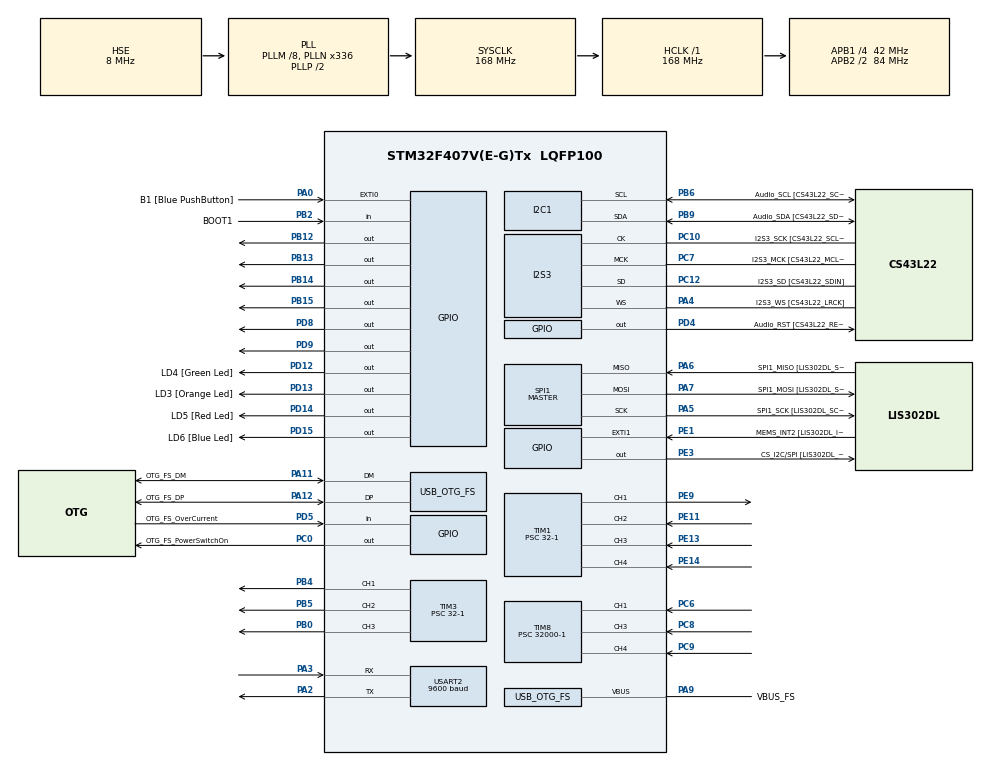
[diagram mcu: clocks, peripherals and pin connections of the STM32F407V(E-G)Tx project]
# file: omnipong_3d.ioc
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I2S3.AudioFreq-Half_Duplex_Master=I2S_AUDIOFREQ_96K
I2S3.ErrorAudioFreq=-2.34 %
I2S3.ErrorAudioFreq-Half_Duplex_Master=0.8 %
I2S3.FullDuplexMode=I2S_FULLDUPLEXMODE_DISABLE
I2S3.Instance=SPI$Index
I2S3.RealAudioFreq=93.75 KHz
I2S3.RealAudioFreq-Half_Duplex_Master=96.774 KHz
I2S3.VirtualMode=I2S_MODE_MASTER
Mcu.Family=STM32F4
Mcu.Name=STM32F407V(E-G)Tx
Mcu.Package=LQFP100
NVIC.OTG_FS_IRQn=true\:0\:0\:false\:false\:true\:true\:true
NVIC.PriorityGroup=NVIC_PRIORITYGROUP_0
NVIC.TIM1_CC_IRQn=true\:0\:0\:false\:false\:true\:true\:true
NVIC.TIM1_UP_TIM10_IRQn=true\:0\:0\:false\:false\:true\:true\:true
NVIC.TIM8_CC_IRQn=true\:0\:0\:false\:false\:true\:true\:true
NVIC.TIM8_UP_TIM13_IRQn=true\:0\:0\:false\:false\:true\:true\:true
PA0-WKUP.GPIO_Label=B1 [Blue PushButton]
PA0-WKUP.GPIO_ModeDefaultEXTI=GPIO_MODE_EVT_RISING
PA0-WKUP.GPIO_PuPd=GPIO_NOPULL
PA0-WKUP.Signal=GPXTI0
PA10.GPIO_Label=OTG_FS_ID
PA10.GPIO_Mode=GPIO_MODE_AF_PP
PA10.GPIO_PuPd=GPIO_NOPULL
PA10.GPIO_Speed=GPIO_SPEED_FREQ_LOW
PA10.Signal=USB_OTG_FS_ID
PA11.GPIO_Label=OTG_FS_DM
PA11.GPIO_Mode=GPIO_MODE_AF_PP
PA11.GPIO_PuPd=GPIO_NOPULL
PA11.GPIO_Speed=GPIO_SPEED_FREQ_LOW
PA11.Mode=Host_Only
PA11.Signal=USB_OTG_FS_DM
PA12.GPIO_Label=OTG_FS_DP
PA12.GPIO_Mode=GPIO_MODE_AF_PP
PA12.GPIO_PuPd=GPIO_NOPULL
PA12.GPIO_Speed=GPIO_SPEED_FREQ_LOW
PA12.Mode=Host_Only
PA12.Signal=USB_OTG_FS_DP
PA13.GPIO_Label=SWDIO
PA13.Mode=Serial_Wire
PA13.Signal=SYS_JTMS-SWDIO
PA14.GPIO_Label=SWCLK
PA14.Mode=Serial_Wire
PA14.Signal=SYS_JTCK-SWCLK
PA2.Mode=Asynchronous
PA2.Signal=USART2_TX
PA3.Mode=Asynchronous
PA3.Signal=USART2_RX
PA4.GPIO_Label=I2S3_WS [CS43L22_LRCK]
PA4.GPIO_Mode=GPIO_MODE_AF_PP
PA4.GPIO_PuPd=GPIO_NOPULL
PA4.GPIO_Speed=GPIO_SPEED_FREQ_LOW
PA4.Mode=Half_Duplex_Master
PA4.Signal=I2S3_WS
PA5.GPIO_Label=SPI1_SCK [LIS302DL_SCL/SPC]
PA5.GPIO_Mode=GPIO_MODE_AF_PP
PA5.GPIO_PuPd=GPIO_NOPULL
PA5.GPIO_Speed=GPIO_SPEED_FREQ_LOW
PA5.Mode=Full_Duplex_Master
PA5.Signal=SPI1_SCK
PA6.GPIO_Label=SPI1_MISO [LIS302DL_SDO]
PA6.GPIO_Mode=GPIO_MODE_AF_PP
PA6.GPIO_PuPd=GPIO_NOPULL
PA6.GPIO_Speed=GPIO_SPEED_FREQ_LOW
PA6.Mode=Full_Duplex_Master
PA6.Signal=SPI1_MISO
PA7.GPIO_Label=SPI1_MOSI [LIS302DL_SDA/SDI/SDO]
PA7.GPIO_Mode=GPIO_MODE_AF_PP
PA7.GPIO_PuPd=GPIO_NOPULL
PA7.GPIO_Speed=GPIO_SPEED_FREQ_LOW
PA7.Mode=Full_Duplex_Master
PA7.Signal=SPI1_MOSI
PA9.GPIO_Label=VBUS_FS
PA9.GPIO_Mode=GPIO_MODE_INPUT
PA9.GPIO_PuPd=GPIO_NOPULL
PA9.Mode=Activate_VBUS
PA9.Signal=USB_OTG_FS_VBUS
PB0.Signal=S_TIM3_CH3
PB10.GPIO_Label=CLK_IN [MP45DT02_CLK]
PB10.GPIO_Mode=GPIO_MODE_AF_PP
PB10.GPIO_PuPd=GPIO_NOPULL
PB10.GPIO_Speed=GPIO_SPEED_FREQ_LOW
PB10.Signal=I2S2_CK
PB12.Signal=GPIO_Output
PB13.Signal=GPIO_Output
PB14.Signal=GPIO_Output
PB15.Signal=GPIO_Output
PB2.GPIO_Label=BOOT1
PB2.GPIO_Mode=GPIO_MODE_INPUT
PB2.GPIO_PuPd=GPIO_NOPULL
PB2.Signal=GPIO_Input
PB3.GPIO_Label=SWO
PB3.Signal=SYS_JTDO-SWO
PB4.Signal=S_TIM3_CH1
PB5.Signal=S_TIM3_CH2
PB6.GPIO_Label=Audio_SCL [CS43L22_SCL]
PB6.GPIO_Mode=GPIO_MODE_AF_OD
PB6.GPIO_Pu=GPIO_PULLUP
PB6.GPIO_PuPd=GPIO_NOPULL
PB6.GPIO_Speed=GPIO_SPEED_FREQ_LOW
PB6.Mode=I2C
PB6.Signal=I2C1_SCL
PB9.GPIO_Label=Audio_SDA [CS43L22_SDA]
PB9.GPIO_Mode=GPIO_MODE_AF_OD
PB9.GPIO_Pu=GPIO_PULLUP
PB9.GPIO_PuPd=GPIO_NOPULL
PB9.GPIO_Speed=GPIO_SPEED_FREQ_LOW
PB9.Mode=I2C
PB9.Signal=I2C1_SDA
PC0.GPIO_Label=OTG_FS_PowerSwitchOn
PC0.GPIO_PuPd=GPIO_NOPULL
PC0.GPIO_Speed=GPIO_SPEED_FREQ_LOW
PC0.PinState=GPIO_PIN_SET
PC0.Signal=GPIO_Output
PC10.GPIO_Label=I2S3_SCK [CS43L22_SCLK]
PC10.GPIO_Mode=GPIO_MODE_AF_PP
PC10.GPIO_PuPd=GPIO_NOPULL
PC10.GPIO_Speed=GPIO_SPEED_FREQ_LOW
PC10.Mode=Half_Duplex_Master
PC10.Signal=I2S3_CK
PC12.GPIO_Label=I2S3_SD [CS43L22_SDIN]
PC12.GPIO_Mode=GPIO_MODE_AF_PP
PC12.GPIO_PuPd=GPIO_NOPULL
PC12.GPIO_Speed=GPIO_SPEED_FREQ_LOW
PC12.Mode=Half_Duplex_Master
PC12.Signal=I2S3_SD
PC14-OSC32_IN.GPIO_Label=PC14-OSC32_IN
PC14-OSC32_IN.Mode=LSE-External-Oscillator
PC14-OSC32_IN.Signal=RCC_OSC32_IN
PC15-OSC32_OUT.GPIO_Label=PC15-OSC32_OUT
PC15-OSC32_OUT.Mode=LSE-External-Oscillator
PC15-OSC32_OUT.Signal=RCC_OSC32_OUT
PC3.GPIO_Label=PDM_OUT [MP45DT02_DOUT]
PC3.GPIO_Mode=GPIO_MODE_AF_PP
PC3.GPIO_PuPd=GPIO_NOPULL
PC3.GPIO_Speed=GPIO_SPEED_FREQ_LOW
PC3.Signal=I2S2_SD
PC6.Signal=S_TIM8_CH1
PC7.GPIO_Label=I2S3_MCK [CS43L22_MCLK]
PC7.GPIO_Mode=GPIO_MODE_AF_PP
PC7.GPIO_PuPd=GPIO_NOPULL
PC7.GPIO_Speed=GPIO_SPEED_FREQ_LOW
PC7.Mode=Master_Clock_Activated
PC7.Signal=I2S3_MCK
PC8.Signal=S_TIM8_CH3
PC9.Signal=S_TIM8_CH4
PD12.GPIO_Label=LD4 [Green Led]
PD12.GPIO_PuPd=GPIO_NOPULL
PD12.GPIO_Speed=GPIO_SPEED_FREQ_LOW
PD12.Signal=GPIO_Output
PD13.GPIO_Label=LD3 [Orange Led]
PD13.GPIO_PuPd=GPIO_NOPULL
PD13.GPIO_Speed=GPIO_SPEED_FREQ_LOW
PD13.Signal=GPIO_Output
PD14.GPIO_Label=LD5 [Red Led]
PD14.GPIO_PuPd=GPIO_NOPULL
PD14.GPIO_Speed=GPIO_SPEED_FREQ_LOW
PD14.Signal=GPIO_Output
PD15.GPIO_Label=LD6 [Blue Led]
PD15.GPIO_PuPd=GPIO_NOPULL
PD15.GPIO_Speed=GPIO_SPEED_FREQ_LOW
PD15.Signal=GPIO_Output
PD4.GPIO_Label=Audio_RST [CS43L22_RESET]
PD4.GPIO_PuPd=GPIO_NOPULL
PD4.GPIO_Speed=GPIO_SPEED_FREQ_LOW
PD4.Signal=GPIO_Output
PD5.GPIO_Label=OTG_FS_OverCurrent
PD5.GPIO_Mode=GPIO_MODE_INPUT
PD5.GPIO_PuPd=GPIO_NOPULL
PD5.Signal=GPIO_Input
PD8.Signal=GPIO_Output
PD9.Signal=GPIO_Output
PE1.GPIO_Label=MEMS_INT2 [LIS302DL_INT2]
PE1.GPIO_ModeDefaultEXTI=GPIO_MODE_EVT_RISING
PE1.GPIO_PuPd=GPIO_NOPULL
PE1.Signal=GPXTI1
PE11.Signal=S_TIM1_CH2
PE13.Signal=S_TIM1_CH3
PE14.Signal=S_TIM1_CH4
PE3.GPIO_Label=CS_I2C/SPI [LIS302DL_CS_I2C/SPI]
PE3.GPIO_PuPd=GPIO_NOPULL
PE3.GPIO_Speed=GPIO_SPEED_FREQ_LOW
PE3.Signal=GPIO_Output
PE9.Signal=S_TIM1_CH1
PH0-OSC_IN.GPIO_Label=PH0-OSC_IN
PH0-OSC_IN.Mode=HSE-External-Oscillator
PH0-OSC_IN.Signal=RCC_OSC_IN
PH1-OSC_OUT.GPIO_Label=PH1-OSC_OUT
PH1-OSC_OUT.Mode=HSE-External-Oscillator
PH1-OSC_OUT.Signal=RCC_OSC_OUT
ProjectManager.HeapSize=0x200
ProjectManager.StackSize=0x400
ProjectManager.TargetToolchain=Makefile
RCC.48MHZClocksFreq_Value=48000000
RCC.AHBFreq_Value=168000000
RCC.APB1CLKDivider=RCC_HCLK_DIV4
RCC.APB1Freq_Value=42000000
RCC.APB1TimFreq_Value=84000000
RCC.APB2CLKDivider=RCC_HCLK_DIV2
RCC.APB2Freq_Value=84000000
RCC.APB2TimFreq_Value=168000000
RCC.CortexFreq_Value=168000000
RCC.HCLKFreq_Value=168000000
RCC.HSE_VALUE=8000000
RCC.HSI_VALUE=16000000
RCC.PLLM=8
RCC.PLLN=336
RCC.PLLQ=7
RCC.SYSCLKFreq_VALUE=168000000
RCC.SYSCLKSource=RCC_SYSCLKSOURCE_PLLCLK
RCC.VCOOutputFreq_Value=336000000
SH.S_TIM1_CH1.0=TIM1_CH1,PWM Generation1 CH1
SH.S_TIM1_CH2.0=TIM1_CH2,Input_Capture2_from_TI2
SH.S_TIM1_CH3.0=TIM1_CH3,Input_Capture3_from_TI3
SH.S_TIM1_CH4.0=TIM1_CH4,Input_Capture4_from_TI4
SH.S_TIM3_CH1.0=TIM3_CH1,PWM Generation1 CH1
SH.S_TIM3_CH2.0=TIM3_CH2,PWM Generation2 CH2
SH.S_TIM3_CH3.0=TIM3_CH3,PWM Generation3 CH3
SH.S_TIM8_CH1.0=TIM8_CH1,Input_Capture1_from_TI1
SH.S_TIM8_CH3.0=TIM8_CH3,Input_Capture3_from_TI3
SH.S_TIM8_CH4.0=TIM8_CH4,Input_Capture4_from_TI4
SPI1.BaudRatePrescaler-Full_Duplex_Master=SPI_BAUDRATEPRESCALER_2
SPI1.CalculateBaudRate-Full_Duplex_Master=42.0 MBits/s
SPI1.Direction=SPI_DIRECTION_2LINES
SPI1.Mode=SPI_MODE_MASTER
SPI1.Mode-Full_Duplex_Master=SPI_MODE_MASTER
SPI1.VirtualType=VM_MASTER
TIM1.Channel-Input_Capture2_from_TI2=TIM_CHANNEL_2
TIM1.Channel-Input_Capture3_from_TI3=TIM_CHANNEL_3
TIM1.Channel-Input_Capture4_from_TI4=TIM_CHANNEL_4
TIM1.Channel-PWM\ Generation1\ CH1=TIM_CHANNEL_1
TIM1.ICPolarity_CH2=TIM_INPUTCHANNELPOLARITY_BOTHEDGE
TIM1.ICPolarity_CH3=TIM_INPUTCHANNELPOLARITY_BOTHEDGE
TIM1.ICPolarity_CH4=TIM_INPUTCHANNELPOLARITY_BOTHEDGE
TIM1.Prescaler=32-1
TIM1.Pulse-PWM\ Generation1\ CH1=10
TIM3.Channel-PWM\ Generation1\ CH1=TIM_CHANNEL_1
TIM3.Channel-PWM\ Generation2\ CH2=TIM_CHANNEL_2
TIM3.Channel-PWM\ Generation3\ CH3=TIM_CHANNEL_3
TIM3.Prescaler=32-1
TIM3.Pulse-PWM\ Generation1\ CH1=50
TIM3.Pulse-PWM\ Generation2\ CH2=50
TIM3.Pulse-PWM\ Generation3\ CH3=50
TIM8.Channel-Input_Capture1_from_TI1=TIM_CHANNEL_1
TIM8.Channel-Input_Capture3_from_TI3=TIM_CHANNEL_3
TIM8.Channel-Input_Capture4_from_TI4=TIM_CHANNEL_4
TIM8.Prescaler=32000-1
USART2.BaudRate=9600
USART2.VirtualMode=VM_ASYNC
USB_HOST.BSP.number=1
USB_HOST.USBH_HandleTypeDef-CDC_FS=hUsbHostFS
USB_HOST.VirtualModeFS=Cdc
USB_HOST0.BSP.STBoard=false
USB_HOST0.BSP.api=Unknown
USB_HOST0.BSP.i2caddr=0
USB_HOST0.BSP.i2creg=0
USB_HOST0.BSP.instance=PC0
USB_HOST0.BSP.ip=GPIO
USB_HOST0.BSP.mode=Output
USB_HOST0.BSP.name=Drive_VBUS_FS
USB_HOST0.BSP.solution=PC0
USB_OTG_FS.VirtualMode=Host_Only
USB_OTG_FS.phy_itface=HCD_PHY_EMBEDDED
VP_USB_HOST_VS_USB_HOST_CDC_FS.Mode=CDC_FS
board=STM32F407G-DISC1

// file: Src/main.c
/* USER CODE BEGIN Header */
/**
  ******************************************************************************
  * @file           : main.c
  * @brief          : Main program body
  ******************************************************************************
  * @attention
  *
  * <h2><center>&copy; Copyright (c) 2021 STMicroelectronics.
  * All rights reserved.</center></h2>
  *
  * This software component is licensed by ST under Ultimate Liberty license
  * SLA0044, the "License"; You may not use this file except in compliance with
  * the License. You may obtain a copy of the License at:
  *                             www.st.com/SLA0044
  *
  ******************************************************************************
  */
/* USER CODE END Header */
#include "main.h"
#include "usb_host.h"

/* USER CODE BEGIN Includes */
#include <stdio.h>
#include <string.h>
#include <sensors.h>
#include <move.h>
/* USER CODE END Includes */

/*I2C_HandleTypeDef hi2c1;

I2S_HandleTypeDef hi2s3;

SPI_HandleTypeDef hspi1;

TIM_HandleTypeDef htim1;
TIM_HandleTypeDef htim3;
TIM_HandleTypeDef htim8;

UART_HandleTypeDef huart2; */

void SystemClock_Config(void);
static void MX_GPIO_Init(void);
static void MX_I2C1_Init(void);
static void MX_I2S3_Init(void);
static void MX_SPI1_Init(void);
static void MX_TIM1_Init(void);
static void MX_TIM3_Init(void);
static void MX_TIM8_Init(void);
static void MX_USART2_UART_Init(void);
void MX_USB_HOST_Process(void);

int main(void)
{

  /* MCU Configuration--------------------------------------------------------*/

  /* Reset of all peripherals, Initializes the Flash interface and the Systick. */
  HAL_Init();

  /* Configure the system clock */
  SystemClock_Config();

  /* Initialize all configured peripherals */
  MX_GPIO_Init();
  MX_I2C1_Init();
  MX_I2S3_Init();
  MX_SPI1_Init();
  MX_TIM1_Init();
  MX_USB_HOST_Init();
  MX_TIM3_Init();
  MX_TIM8_Init();
  MX_USART2_UART_Init();
  /* USER CODE BEGIN 2 */

  HAL_TIM_Base_Start(&htim1);
  HAL_TIM_Base_Start(&htim3);
  HAL_TIM_Base_Start(&htim8);

  HAL_TIM_OC_Start(&htim1, TIM_CHANNEL_1);
  HAL_TIM_IC_Start_IT(&htim1, TIM_CHANNEL_2);
  HAL_TIM_IC_Start_IT(&htim1, TIM_CHANNEL_3);
  HAL_TIM_IC_Start_IT(&htim1, TIM_CHANNEL_4);

  HAL_TIM_OC_Start(&htim3, TIM_CHANNEL_1);
  HAL_TIM_OC_Start(&htim3, TIM_CHANNEL_2);
  HAL_TIM_OC_Start(&htim3, TIM_CHANNEL_3);

  HAL_TIM_IC_Start_IT(&htim8, TIM_CHANNEL_1);
  HAL_TIM_IC_Start_IT(&htim8, TIM_CHANNEL_3);
  HAL_TIM_IC_Start_IT(&htim8, TIM_CHANNEL_4);

  adjust_speed(0, 50);
  adjust_speed(1, 50);
  adjust_speed(2, 50);

  /* USER CODE END 2 */

  /* Infinite loop */
  while (1)
  {
    HAL_Delay(2000);
    stop_all_motors();
    HAL_Delay(500);
    vehicle_direction(0);
    HAL_Delay(2000);
    stop_all_motors();
    HAL_Delay(500);
    vehicle_direction(1);
    HAL_Delay(2000);
    stop_all_motors();
    HAL_Delay(500);
    vehicle_direction(2);

    adjust_speed(0, 500);
    adjust_speed(1, 500);
    adjust_speed(2, 500);

  }
}

void SystemClock_Config(void)
{
  RCC_OscInitTypeDef RCC_OscInitStruct = {0};
  RCC_ClkInitTypeDef RCC_ClkInitStruct = {0};

  /** Configure the main internal regulator output voltage
  */
  __HAL_RCC_PWR_CLK_ENABLE();
  __HAL_PWR_VOLTAGESCALING_CONFIG(PWR_REGULATOR_VOLTAGE_SCALE1);
  /** Initializes the RCC Oscillators according to the specified parameters
  * in the RCC_OscInitTypeDef structure.
  */
  RCC_OscInitStruct.OscillatorType = RCC_OSCILLATORTYPE_HSE;
  RCC_OscInitStruct.HSEState = RCC_HSE_ON;
  RCC_OscInitStruct.PLL.PLLState = RCC_PLL_ON;
  RCC_OscInitStruct.PLL.PLLSource = RCC_PLLSOURCE_HSE;
  RCC_OscInitStruct.PLL.PLLM = 8;
  RCC_OscInitStruct.PLL.PLLN = 336;
  RCC_OscInitStruct.PLL.PLLP = RCC_PLLP_DIV2;
  RCC_OscInitStruct.PLL.PLLQ = 7;
  if (HAL_RCC_OscConfig(&RCC_OscInitStruct) != HAL_OK)
  {
    Error_Handler();
  }
  /** Initializes the CPU, AHB and APB buses clocks
  */
  RCC_ClkInitStruct.ClockType = RCC_CLOCKTYPE_HCLK|RCC_CLOCKTYPE_SYSCLK
                              |RCC_CLOCKTYPE_PCLK1|RCC_CLOCKTYPE_PCLK2;
  RCC_ClkInitStruct.SYSCLKSource = RCC_SYSCLKSOURCE_PLLCLK;
  RCC_ClkInitStruct.AHBCLKDivider = RCC_SYSCLK_DIV1;
  RCC_ClkInitStruct.APB1CLKDivider = RCC_HCLK_DIV4;
  RCC_ClkInitStruct.APB2CLKDivider = RCC_HCLK_DIV2;

  if (HAL_RCC_ClockConfig(&RCC_ClkInitStruct, FLASH_LATENCY_5) != HAL_OK)
  {
    Error_Handler();
  }
}

static void MX_I2C1_Init(void)
{

  hi2c1.Instance = I2C1;
  hi2c1.Init.ClockSpeed = 100000;
  hi2c1.Init.DutyCycle = I2C_DUTYCYCLE_2;
  hi2c1.Init.OwnAddress1 = 0;
  hi2c1.Init.AddressingMode = I2C_ADDRESSINGMODE_7BIT;
  hi2c1.Init.DualAddressMode = I2C_DUALADDRESS_DISABLE;
  hi2c1.Init.OwnAddress2 = 0;
  hi2c1.Init.GeneralCallMode = I2C_GENERALCALL_DISABLE;
  hi2c1.Init.NoStretchMode = I2C_NOSTRETCH_DISABLE;
  if (HAL_I2C_Init(&hi2c1) != HAL_OK)
  {
    Error_Handler();
  }

}

static void MX_I2S3_Init(void)
{

  hi2s3.Instance = SPI3;
  hi2s3.Init.Mode = I2S_MODE_MASTER_TX;
  hi2s3.Init.Standard = I2S_STANDARD_PHILIPS;
  hi2s3.Init.DataFormat = I2S_DATAFORMAT_16B;
  hi2s3.Init.MCLKOutput = I2S_MCLKOUTPUT_ENABLE;
  hi2s3.Init.AudioFreq = I2S_AUDIOFREQ_96K;
  hi2s3.Init.CPOL = I2S_CPOL_LOW;
  hi2s3.Init.ClockSource = I2S_CLOCK_PLL;
  hi2s3.Init.FullDuplexMode = I2S_FULLDUPLEXMODE_DISABLE;
  if (HAL_I2S_Init(&hi2s3) != HAL_OK)
  {
    Error_Handler();
  }

}

static void MX_SPI1_Init(void)
{

  /* SPI1 parameter configuration*/
  hspi1.Instance = SPI1;
  hspi1.Init.Mode = SPI_MODE_MASTER;
  hspi1.Init.Direction = SPI_DIRECTION_2LINES;
  hspi1.Init.DataSize = SPI_DATASIZE_8BIT;
  hspi1.Init.CLKPolarity = SPI_POLARITY_LOW;
  hspi1.Init.CLKPhase = SPI_PHASE_1EDGE;
  hspi1.Init.NSS = SPI_NSS_SOFT;
  hspi1.Init.BaudRatePrescaler = SPI_BAUDRATEPRESCALER_2;
  hspi1.Init.FirstBit = SPI_FIRSTBIT_MSB;
  hspi1.Init.TIMode = SPI_TIMODE_DISABLE;
  hspi1.Init.CRCCalculation = SPI_CRCCALCULATION_DISABLE;
  hspi1.Init.CRCPolynomial = 10;
  if (HAL_SPI_Init(&hspi1) != HAL_OK)
  {
    Error_Handler();
  }

}

static void MX_TIM1_Init(void)
{

  TIM_MasterConfigTypeDef sMasterConfig = {0};
  TIM_OC_InitTypeDef sConfigOC = {0};
  TIM_IC_InitTypeDef sConfigIC = {0};
  TIM_BreakDeadTimeConfigTypeDef sBreakDeadTimeConfig = {0};

  htim1.Instance = TIM1;
  htim1.Init.Prescaler = 168-1;
  htim1.Init.CounterMode = TIM_COUNTERMODE_UP;
  htim1.Init.Period = 65535;
  htim1.Init.ClockDivision = TIM_CLOCKDIVISION_DIV1;
  htim1.Init.RepetitionCounter = 0;
  htim1.Init.AutoReloadPreload = TIM_AUTORELOAD_PRELOAD_DISABLE;
  if (HAL_TIM_PWM_Init(&htim1) != HAL_OK)
  {
    Error_Handler();
  }
  if (HAL_TIM_IC_Init(&htim1) != HAL_OK)
  {
    Error_Handler();
  }
  sMasterConfig.MasterOutputTrigger = TIM_TRGO_RESET;
  sMasterConfig.MasterSlaveMode = TIM_MASTERSLAVEMODE_DISABLE;
  if (HAL_TIMEx_MasterConfigSynchronization(&htim1, &sMasterConfig) != HAL_OK)
  {
    Error_Handler();
  }
  sConfigOC.OCMode = TIM_OCMODE_PWM1;
  sConfigOC.Pulse = 10;
  sConfigOC.OCPolarity = TIM_OCPOLARITY_HIGH;
  sConfigOC.OCNPolarity = TIM_OCNPOLARITY_HIGH;
  sConfigOC.OCFastMode = TIM_OCFAST_DISABLE;
  sConfigOC.OCIdleState = TIM_OCIDLESTATE_RESET;
  sConfigOC.OCNIdleState = TIM_OCNIDLESTATE_RESET;
  if (HAL_TIM_PWM_ConfigChannel(&htim1, &sConfigOC, TIM_CHANNEL_1) != HAL_OK)
  {
    Error_Handler();
  }
  sConfigIC.ICPolarity = TIM_INPUTCHANNELPOLARITY_BOTHEDGE;
  sConfigIC.ICSelection = TIM_ICSELECTION_DIRECTTI;
  sConfigIC.ICPrescaler = TIM_ICPSC_DIV1;
  sConfigIC.ICFilter = 0;
  if (HAL_TIM_IC_ConfigChannel(&htim1, &sConfigIC, TIM_CHANNEL_2) != HAL_OK)
  {
    Error_Handler();
  }
  if (HAL_TIM_IC_ConfigChannel(&htim1, &sConfigIC, TIM_CHANNEL_3) != HAL_OK)
  {
    Error_Handler();
  }
  if (HAL_TIM_IC_ConfigChannel(&htim1, &sConfigIC, TIM_CHANNEL_4) != HAL_OK)
  {
    Error_Handler();
  }
  sBreakDeadTimeConfig.OffStateRunMode = TIM_OSSR_DISABLE;
  sBreakDeadTimeConfig.OffStateIDLEMode = TIM_OSSI_DISABLE;
  sBreakDeadTimeConfig.LockLevel = TIM_LOCKLEVEL_OFF;
  sBreakDeadTimeConfig.DeadTime = 0;
  sBreakDeadTimeConfig.BreakState = TIM_BREAK_DISABLE;
  sBreakDeadTimeConfig.BreakPolarity = TIM_BREAKPOLARITY_HIGH;
  sBreakDeadTimeConfig.AutomaticOutput = TIM_AUTOMATICOUTPUT_DISABLE;
  if (HAL_TIMEx_ConfigBreakDeadTime(&htim1, &sBreakDeadTimeConfig) != HAL_OK)
  {
    Error_Handler();
  }
  HAL_TIM_MspPostInit(&htim1);

}

static void MX_TIM3_Init(void)
{

  TIM_MasterConfigTypeDef sMasterConfig = {0};
  TIM_OC_InitTypeDef sConfigOC = {0};

  htim3.Instance = TIM3;
  htim3.Init.Prescaler = 1680-1; //Frequenz von 2 khz
  htim3.Init.CounterMode = TIM_COUNTERMODE_UP;
  htim3.Init.Period = 1000;
  htim3.Init.ClockDivision = TIM_CLOCKDIVISION_DIV1;
  htim3.Init.AutoReloadPreload = TIM_AUTORELOAD_PRELOAD_DISABLE;
  if (HAL_TIM_PWM_Init(&htim3) != HAL_OK)
  {
    Error_Handler();
  }
  sMasterConfig.MasterOutputTrigger = TIM_TRGO_RESET;
  sMasterConfig.MasterSlaveMode = TIM_MASTERSLAVEMODE_DISABLE;
  if (HAL_TIMEx_MasterConfigSynchronization(&htim3, &sMasterConfig) != HAL_OK)
  {
    Error_Handler();
  }
  sConfigOC.OCMode = TIM_OCMODE_PWM1;
  sConfigOC.Pulse = 500;
  sConfigOC.OCPolarity = TIM_OCPOLARITY_HIGH;
  sConfigOC.OCFastMode = TIM_OCFAST_DISABLE;
  sConfigOC.OCIdleState = TIM_OCIDLESTATE_RESET;
  sConfigOC.OCNIdleState = TIM_OCNIDLESTATE_RESET;

  if (HAL_TIM_PWM_ConfigChannel(&htim3, &sConfigOC, TIM_CHANNEL_1) != HAL_OK)
  {
    Error_Handler();
  }
  if (HAL_TIM_PWM_ConfigChannel(&htim3, &sConfigOC, TIM_CHANNEL_2) != HAL_OK)
  {
    Error_Handler();
  }
  if (HAL_TIM_PWM_ConfigChannel(&htim3, &sConfigOC, TIM_CHANNEL_3) != HAL_OK)
  {
    Error_Handler();
  }
  HAL_TIM_MspPostInit(&htim3);

}

static void MX_TIM8_Init(void)
{

  TIM_MasterConfigTypeDef sMasterConfig = {0};
  TIM_IC_InitTypeDef sConfigIC = {0};

  htim8.Instance = TIM8;
  htim8.Init.Prescaler = 1;
  htim8.Init.CounterMode = TIM_COUNTERMODE_UP;
  htim8.Init.Period = 65535;
  htim8.Init.ClockDivision = TIM_CLOCKDIVISION_DIV1;
  htim8.Init.RepetitionCounter = 0;
  htim8.Init.AutoReloadPreload = TIM_AUTORELOAD_PRELOAD_DISABLE;
  if (HAL_TIM_IC_Init(&htim8) != HAL_OK)
  {
    Error_Handler();
  }
  sMasterConfig.MasterOutputTrigger = TIM_TRGO_RESET;
  sMasterConfig.MasterSlaveMode = TIM_MASTERSLAVEMODE_DISABLE;
  if (HAL_TIMEx_MasterConfigSynchronization(&htim8, &sMasterConfig) != HAL_OK)
  {
    Error_Handler();
  }
  sConfigIC.ICPolarity = TIM_INPUTCHANNELPOLARITY_RISING;
  sConfigIC.ICSelection = TIM_ICSELECTION_DIRECTTI;
  sConfigIC.ICPrescaler = TIM_ICPSC_DIV1;
  sConfigIC.ICFilter = 0;
  if (HAL_TIM_IC_ConfigChannel(&htim8, &sConfigIC, TIM_CHANNEL_1) != HAL_OK)
  {
    Error_Handler();
  }
  if (HAL_TIM_IC_ConfigChannel(&htim8, &sConfigIC, TIM_CHANNEL_3) != HAL_OK)
  {
    Error_Handler();
  }
  if (HAL_TIM_IC_ConfigChannel(&htim8, &sConfigIC, TIM_CHANNEL_4) != HAL_OK)
  {
    Error_Handler();
  }

}

static void MX_USART2_UART_Init(void)
{

  huart2.Instance = USART2;
  huart2.Init.BaudRate = 9600;
  huart2.Init.WordLength = UART_WORDLENGTH_8B;
  huart2.Init.StopBits = UART_STOPBITS_1;
  huart2.Init.Parity = UART_PARITY_NONE;
  huart2.Init.Mode = UART_MODE_TX_RX;
  huart2.Init.HwFlowCtl = UART_HWCONTROL_NONE;
  huart2.Init.OverSampling = UART_OVERSAMPLING_16;
  if (HAL_UART_Init(&huart2) != HAL_OK)
  {
    Error_Handler();
  }

}

static void MX_GPIO_Init(void)
{
  GPIO_InitTypeDef GPIO_InitStruct = {0};

  /* GPIO Ports Clock Enable */
  __HAL_RCC_GPIOE_CLK_ENABLE();
  __HAL_RCC_GPIOC_CLK_ENABLE();
  __HAL_RCC_GPIOH_CLK_ENABLE();
  __HAL_RCC_GPIOA_CLK_ENABLE();
  __HAL_RCC_GPIOB_CLK_ENABLE();
  __HAL_RCC_GPIOD_CLK_ENABLE();

  /*Configure GPIO pin Output Level */
  HAL_GPIO_WritePin(CS_I2C_SPI_GPIO_Port, CS_I2C_SPI_Pin, GPIO_PIN_RESET);

  /*Configure GPIO pin Output Level */
  HAL_GPIO_WritePin(OTG_FS_PowerSwitchOn_GPIO_Port, OTG_FS_PowerSwitchOn_Pin, GPIO_PIN_SET);

  /*Configure GPIO pin Output Level */
  HAL_GPIO_WritePin(GPIOB, GPIO_PIN_12|GPIO_PIN_13|GPIO_PIN_14|GPIO_PIN_15, GPIO_PIN_RESET);

  /*Configure GPIO pin Output Level */
  HAL_GPIO_WritePin(GPIOD, GPIO_PIN_8|GPIO_PIN_9|LD4_Pin|LD3_Pin
                          |LD5_Pin|LD6_Pin|Audio_RST_Pin, GPIO_PIN_RESET);

  /*Configure GPIO pin : CS_I2C_SPI_Pin */
  GPIO_InitStruct.Pin = CS_I2C_SPI_Pin;
  GPIO_InitStruct.Mode = GPIO_MODE_OUTPUT_PP;
  GPIO_InitStruct.Pull = GPIO_NOPULL;
  GPIO_InitStruct.Speed = GPIO_SPEED_FREQ_LOW;
  HAL_GPIO_Init(CS_I2C_SPI_GPIO_Port, &GPIO_InitStruct);

  /*Configure GPIO pin : OTG_FS_PowerSwitchOn_Pin */
  GPIO_InitStruct.Pin = OTG_FS_PowerSwitchOn_Pin;
  GPIO_InitStruct.Mode = GPIO_MODE_OUTPUT_PP;
  GPIO_InitStruct.Pull = GPIO_NOPULL;
  GPIO_InitStruct.Speed = GPIO_SPEED_FREQ_LOW;
  HAL_GPIO_Init(OTG_FS_PowerSwitchOn_GPIO_Port, &GPIO_InitStruct);

  /*Configure GPIO pin : PDM_OUT_Pin */
  GPIO_InitStruct.Pin = PDM_OUT_Pin;
  GPIO_InitStruct.Mode = GPIO_MODE_AF_PP;
  GPIO_InitStruct.Pull = GPIO_NOPULL;
  GPIO_InitStruct.Speed = GPIO_SPEED_FREQ_LOW;
  GPIO_InitStruct.Alternate = GPIO_AF5_SPI2;
  HAL_GPIO_Init(PDM_OUT_GPIO_Port, &GPIO_InitStruct);

  /*Configure GPIO pin : B1_Pin */
  GPIO_InitStruct.Pin = B1_Pin;
  GPIO_InitStruct.Mode = GPIO_MODE_EVT_RISING;
  GPIO_InitStruct.Pull = GPIO_NOPULL;
  HAL_GPIO_Init(B1_GPIO_Port, &GPIO_InitStruct);

  /*Configure GPIO pin : BOOT1_Pin */
  GPIO_InitStruct.Pin = BOOT1_Pin;
  GPIO_InitStruct.Mode = GPIO_MODE_INPUT;
  GPIO_InitStruct.Pull = GPIO_NOPULL;
  HAL_GPIO_Init(BOOT1_GPIO_Port, &GPIO_InitStruct);

  /*Configure GPIO pin : CLK_IN_Pin */
  GPIO_InitStruct.Pin = CLK_IN_Pin;
  GPIO_InitStruct.Mode = GPIO_MODE_AF_PP;
  GPIO_InitStruct.Pull = GPIO_NOPULL;
  GPIO_InitStruct.Speed = GPIO_SPEED_FREQ_LOW;
  GPIO_InitStruct.Alternate = GPIO_AF5_SPI2;
  HAL_GPIO_Init(CLK_IN_GPIO_Port, &GPIO_InitStruct);

  /*Configure GPIO pins : PB12 PB13 PB14 PB15 */
  GPIO_InitStruct.Pin = GPIO_PIN_12|GPIO_PIN_13|GPIO_PIN_14|GPIO_PIN_15;
  GPIO_InitStruct.Mode = GPIO_MODE_OUTPUT_PP;
  GPIO_InitStruct.Pull = GPIO_NOPULL;
  GPIO_InitStruct.Speed = GPIO_SPEED_FREQ_LOW;
  HAL_GPIO_Init(GPIOB, &GPIO_InitStruct);

  /*Configure GPIO pins : PD8 PD9 LD4_Pin LD3_Pin
                           LD5_Pin LD6_Pin Audio_RST_Pin */
  GPIO_InitStruct.Pin = GPIO_PIN_8|GPIO_PIN_9|LD4_Pin|LD3_Pin
                          |LD5_Pin|LD6_Pin|Audio_RST_Pin;
  GPIO_InitStruct.Mode = GPIO_MODE_OUTPUT_PP;
  GPIO_InitStruct.Pull = GPIO_NOPULL;
  GPIO_InitStruct.Speed = GPIO_SPEED_FREQ_LOW;
  HAL_GPIO_Init(GPIOD, &GPIO_InitStruct);

  /*Configure GPIO pin : OTG_FS_OverCurrent_Pin */
  GPIO_InitStruct.Pin = OTG_FS_OverCurrent_Pin;
  GPIO_InitStruct.Mode = GPIO_MODE_INPUT;
  GPIO_InitStruct.Pull = GPIO_NOPULL;
  HAL_GPIO_Init(OTG_FS_OverCurrent_GPIO_Port, &GPIO_InitStruct);

  /*Configure GPIO pin : MEMS_INT2_Pin */
  GPIO_InitStruct.Pin = MEMS_INT2_Pin;
  GPIO_InitStruct.Mode = GPIO_MODE_EVT_RISING;
  GPIO_InitStruct.Pull = GPIO_NOPULL;
  HAL_GPIO_Init(MEMS_INT2_GPIO_Port, &GPIO_InitStruct);

}

/* USER CODE BEGIN 4 */
void HAL_TIM_IC_CaptureCallback(TIM_HandleTypeDef* htim)
{

  if(htim == &htim1)
  {

    if(htim->Channel == HAL_TIM_ACTIVE_CHANNEL_2) {
      ultrasonic(0);
    }

    if(htim->Channel == HAL_TIM_ACTIVE_CHANNEL_3) {
      ultrasonic(1);
    }

      if(htim->Channel == HAL_TIM_ACTIVE_CHANNEL_4) {
      ultrasonic(2);
    }
  }

  if(htim == &htim8)
  {

    if(htim->Channel == HAL_TIM_ACTIVE_CHANNEL_1) {
      light_sensor(0);
    }

    if(htim->Channel == HAL_TIM_ACTIVE_CHANNEL_3) {
      light_sensor(1);
    }

      if(htim->Channel == HAL_TIM_ACTIVE_CHANNEL_4) {
      light_sensor(2);
    }
  }

}
/* USER CODE END 4 */

void Error_Handler(void)
{
  __disable_irq();
  while (1)
  {
  }
}

/************************ (C) COPYRIGHT STMicroelectronics *****END OF FILE****/
